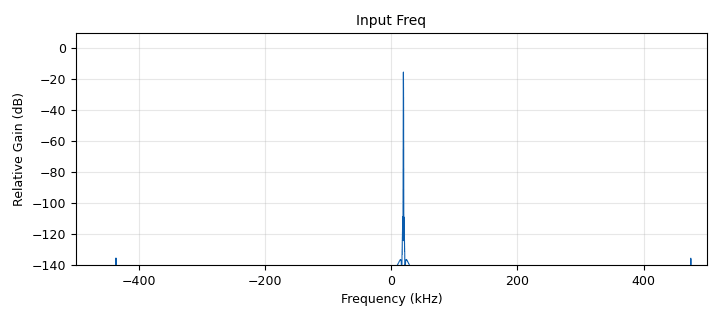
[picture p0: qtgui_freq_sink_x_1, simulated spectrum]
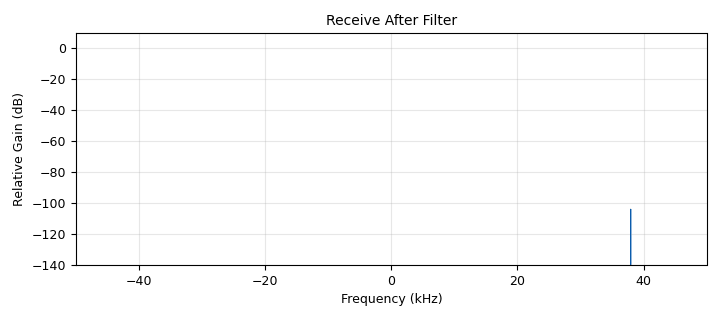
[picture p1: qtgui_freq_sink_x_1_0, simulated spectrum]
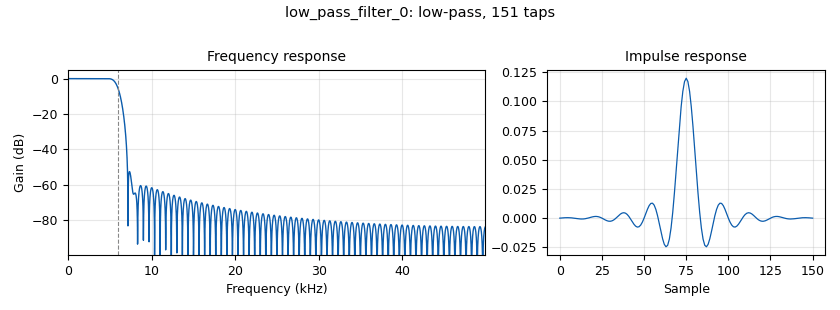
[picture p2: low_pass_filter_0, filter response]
options:
  parameters:
    author: SEAKn Space
    description: Copletes Receive chain from rtl-sdr and demodulates correct signal according to signal from AI model.
    generate_options: qt_gui
    id: receive_chain
    output_language: python
    title: Receive Chain
  states: {}

blocks:
- name: MTU
  id: variable
  parameters:
    value: '1500'
  states: {}
- name: access_key
  id: variable
  parameters:
    value: '''11100001010110101110100010010011'''
  states: {}
- name: baseband_LO
  id: variable_qtgui_range
  parameters:
    gui_hint: 3,0,1,4
    start: '-50_000'
    step: '100'
    stop: '50_000'
    value: '19_000'
  states: {}
- name: bpsk
  id: variable_constellation
  parameters:
    precision: '8'
    type: bpsk
  states: {}
- name: carrier_freq
  id: variable
  parameters:
    value: 0435e6
  states: {}
- name: demod_selector
  id: variable_qtgui_range
  parameters:
    gui_hint: 0,2,1,1
    label: BPSK=0, QPSK=1
    min_len: '300'
    orient: QtCore.Qt.Vertical
    rangeType: int
    start: '0'
    step: '1'
    stop: '1'
    value: '0'
    widget: dial
  states: {state: disabled}
- name: demod_selector
  id: variable
  parameters:
    value: '0'
  states: {}
- name: excess_bw
  id: variable
  parameters:
    value: '0.35'
  states: {}
- name: hackrf_rate
  id: variable
  parameters:
    value: 20*samp_rate
  states: {}
- name: hdr_format
  id: variable
  parameters:
    comment: header_format_default
    value: digital.header_format_default(access_key, 0)
  states: {}
- name: nfilts
  id: variable
  parameters:
    value: '64'
  states: {}
- name: packet_len
  id: variable
  parameters:
    value: '52'
  states: {}
- name: phase_bw
  id: variable
  parameters:
    value: '0.0628'
  states: {}
- name: qpsk
  id: variable_constellation
  parameters:
    precision: '8'
    type: qpsk
  states: {}
- name: qtgui_dialgauge_0
  id: qtgui_dialgauge
  parameters:
    barColor: teal
    gui_hint: 0,2,1,1
    label: 'Demodulation Scheme Selected:'
    maximum: '1'
    minimum: '0'
    msize: '150'
    showValue: 'True'
    type: int
    value: demod_selector
  states: {}
- name: rrc_taps
  id: variable
  parameters:
    value: firdes.root_raised_cosine(nfilts, nfilts, 1.0/float(sps), 0.35, 45*nfilts)
  states: {}
- name: rtl_rate
  id: variable
  parameters:
    value: 1e6
  states: {}
- name: samp_rate
  id: variable
  parameters:
    value: 100e3
  states: {}
- name: sps
  id: variable
  parameters:
    value: '15'
  states: {}
- name: thresh
  id: variable
  parameters:
    value: '1'
  states: {}
- name: transmit_freq
  id: variable
  parameters:
    value: 435e6
  states: {}
- name: variable_qtgui_label_0
  id: variable_qtgui_label
  parameters:
    gui_hint: 0,2,1,1
    type: bool
    value: demod_selector
  states: {state: disabled}
- name: variable_qtgui_label_1
  id: variable_qtgui_label
  parameters:
    gui_hint: 0,3,1,1
    label: BPSK=0, QPSK=1
    type: string
    value: '""'
  states: {}
- name: analog_sig_source_x_0_0
  id: analog_sig_source_x
  parameters:
    amp: '0.5'
    freq: baseband_LO
    offset: '0'
    phase: '0'
    samp_rate: rtl_rate/10
    type: complex
    waveform: analog.GR_COS_WAVE
  states: {}
- name: analog_sig_source_x_0_0_0
  id: analog_sig_source_x
  parameters:
    amp: '0.5'
    freq: baseband_LO
    offset: '0'
    phase: '0'
    samp_rate: rtl_rate
    type: complex
    waveform: analog.GR_COS_WAVE
  states: {}
- name: blocks_file_sink_0
  id: blocks_file_sink
  parameters:
    file: C:\Users\natha\dsp\SDR_files\test_io\out_File
    type: byte
    unbuffered: 'True'
  states: {}
- name: blocks_file_sink_0_0
  id: blocks_file_sink
  parameters:
    file: '"../../test_io/out.tmp"'
    type: byte
    unbuffered: 'True'
  states: {state: disabled}
- name: blocks_multiply_xx_0_0
  id: blocks_multiply_xx
  parameters:
    type: complex
  states: {}
- name: blocks_repack_bits
  id: blocks_repack_bits_bb
  parameters:
    comment: MSB
    endianness: gr.GR_MSB_FIRST
    k: '8'
    l: '1'
    len_tag_key: '"packet_len"'
  states: {}
- name: blocks_selector_1
  id: blocks_selector
  parameters:
    enabled: 'True'
    input_index: demod_selector
    num_inputs: '2'
    num_outputs: '1'
    output_index: '0'
    type: byte
  states: {}
- name: blocks_selector_1_0
  id: blocks_selector
  parameters:
    enabled: 'True'
    input_index: demod_selector
    num_inputs: '2'
    num_outputs: '1'
    output_index: '0'
    type: complex
  states: {}
- name: blocks_selector_3
  id: blocks_selector
  parameters:
    enabled: 'True'
    input_index: '0'
    num_inputs: '1'
    num_outputs: '2'
    output_index: demod_selector
    type: complex
  states: {}
- name: blocks_uchar_to_float
  id: blocks_uchar_to_float
  parameters: {}
  states: {}
- name: bpsk_demod_1
  id: bpsk_demod
  parameters:
    access_key: '''11100001010110101110100010010011'''
    bpsk: bpsk
    nfilts: nfilts
    packet_len: packet_len
    samp_rate: samp_rate
    sps: sps
    thresh: thresh
  states: {}
- name: digital_fll_band_edge_cc_0
  id: digital_fll_band_edge_cc
  parameters:
    filter_size: '44'
    rolloff: '.35'
    samps_per_sym: '15'
    type: cc
    w: '0.0628'
  states: {}
- name: epy_block_0
  id: epy_block
  parameters:
    _source_code: |-
      """
      Embedded Python Blocks:

      Each time this file is saved, GRC will instantiate the first class it finds
      to get ports and parameters of your block. The arguments to __init__  will
      be the parameters. All of them are required to have default values!
      """

      import numpy as np
      import random
      from gnuradio import gr
      import torch

      class blk(gr.sync_block):  # other base classes are basic_block, decim_block, interp_block
          """Embedded Python Block - Randomly grab num_points samples and save to file or pass onto next block.
          Args:
              save_file (str): File to save samples to. Set to None to not save to file.
              num_points (int): Number of samples to grab. Ex: 128. Must be less than or equal to the number of samples in the input (4096).
              grab_random (bool): If True, grab samples randomly. If False, grab samples sequentially at given rate.
              rate (int): Rate at which to grab samples. Higher rate means longer time between grabbing samples.
              debug (bool): If True, print debug messages."""

          def __init__(self, save_file="calla.np", num_points=128, grab_random=False, rate=10_000,debug=False):  # only default arguments here
              """arguments to this function show up as parameters in GRC"""
              gr.sync_block.__init__(
                  self,
                  name='Get Random Sample',   # will show up in GRC
                  in_sig=[np.complex64],
                  out_sig=[np.complex64]
              )
              # if an attribute with the same name as a parameter is found,
              # a callback is registered (properties work, too).
              self.save_file = save_file 
              self.num_points = num_points
              self.grab_random = grab_random
              self.rate = rate
              self._debug = debug

              self.iter_counts = 0

          def work(self, input_items, output_items):
              """Grab num_points samples and save to file or pass onto next block."""

              if (input_items is None or len(input_items[0]) is None or input_items[0] is None):
                  print("Input type is None")
                  return 0

              if self.grab_random:
                  mystery_num = random.randint(1,self.rate)
                  if(mystery_num == 1):
                      self.iter_counts = 0
                      if (len(input_items[0]) >= self.num_points):
                          start = random.randint(0, len(input_items[0])-self.num_points)
                          data = input_items[0][start:start+self.num_points]
                          output_items[0][:len(data)] = input_items[0][start:start+self.num_points]

                          if self._debug:
                              print("Collected {} samples".format(len(data), type(input_items[0]), output_items[0][:] ))
                          
                          # save to file
                          if not self.save_file is None:
                              np.save(self.save_file, data, allow_pickle=True)
                          return len(data)
                      elif self._debug:
                          print("Input length is less than num_points")
                  
              else:
                  self.iter_counts += 1
                  if (self.iter_counts >= self.rate):

                      self.iter_counts = 0
                      if self._debug:
                          print("Input length: ",len(input_items[0]))

                      if (int(len(input_items[0])) >= int(self.num_points)):
                          start = random.randint(0, len(input_items[0])-self.num_points)
                          data = input_items[0][start:start+self.num_points]
                          output_items[0][:len(data)] = input_items[0][start:start+self.num_points]
                          if self._debug:
                              print("Collected {} samples".format(len(data), type(input_items[0]), output_items[0][:] ))
                          
                          formated_data = np.vstack((data.real, data.imag))
                          formated_data_torch = torch.from_numpy(formated_data)
                          formated_data_tensor = torch.tensor(formated_data_torch, dtype=torch.float32)
                          min_val = torch.tensor(formated_data_tensor.min(axis=1).values, dtype=torch.float32)
                          max_val = torch.tensor(formated_data_tensor.max(axis=1).values, dtype=torch.float32)

                          #normalize
                          epsilon = 1e-10
                          normalized_data = 2* (formated_data_tensor - min_val.unsqueeze(1)) / (max_val.unsqueeze(1) - min_val.unsqueeze(1) + epsilon) - 1
                          normalized_data_np = normalized_data.numpy()
                          
                          # if self._debug:
                          #     print(normalized_data_np.shape)
                          #     print(normalized_data.shape)
                          #     print(normalized_data_np[0:10])

                          normalized_real = normalized_data_np[0]
                          normalized_imag = normalized_data_np[1]

                          n_data = np.zeros(self.num_points, dtype=np.complex64)
                          for i in range(self.num_points):
                              n_data[i] = complex(normalized_real[i], normalized_imag[i])
                          
                          if self._debug:
                              print(n_data)

                          output_items[0][:len(n_data)] = n_data[:]

                          # save to file
                          if not self.save_file is None:
                              np.save(self.save_file, data, allow_pickle=True)
                          return len(data)
                      elif self._debug:
                          print("Input length is less than num_points")

              output_items[0][:] = 0
              return self.num_points
              # output_items[0][:self.num_points] = input_items[0][:self.num_points]
              # return (len(output_items[0]))
    debug: 'True'
    grab_random: 'False'
    num_points: '768'
    rate: '10_000'
    save_file: None
  states: {}
- name: epy_block_0_0
  id: epy_block
  parameters:
    _source_code: "import numpy as np\nfrom gnuradio import gr\nimport pmt\nimport base64\n\nclass blk(gr.sync_block):\n    def __init__(self):\n        gr.sync_block.__init__(\n            self,\n            name='EPB: Decode Packet',   # will show up in GRC\n            in_sig=None,\n            out_sig=None)\n        self.message_port_register_in(pmt.intern('msg_in'))\n        self.message_port_register_out(pmt.intern('msg_out'))\n        self.set_msg_handler(pmt.intern('msg_in'), self.handle_msg)\n\n    def handle_msg(self, msg):\n        _debug = 0          # set to zero to turn off diagnostics\n        try:\n            buff = pmt.to_python(pmt.cdr(msg))\n        except Exception as e:\n            gr.log.error(\"Error with message conversion: %s\" % str(e))\n            return\n        b_len = len (buff)\n\n        if (buff[0] == 37):     # preamble or postamble\n            if ((buff[4] == 35) and (b_len < 52)):     # filename starts in buff[8]\n                print (\"End of text\")\n                if (_debug == 2):\n                    print (\"buff =\", buff, b_len)\n                intlist = np.frombuffer(buff, dtype=np.uint8)\n                ofn = ''.join(chr(i) for i in intlist[8:])  \n                print (\"Transmitted file name:\",ofn)\n\n        else:\n            # decode Base64\n            data = base64.b64decode(buff)\n            if (_debug == 1):\n                print (\"data =\", data)\n            pdu = pmt.cons(pmt.PMT_NIL, pmt.init_u8vector(len(data),list(data)))\n            self.message_port_pub(pmt.intern('msg_out'), pdu)\n\n"
    comment: |-
      Strip preamble and postamble
      Convert Base64 to original file content
  states: {state: disabled}
- name: epy_block_1
  id: epy_block
  parameters:
    _source_code: |-
      """
      Embedded Python Blocks:

      Each time this file is saved, GRC will instantiate the first class it finds
      to get ports and parameters of your block. The arguments to __init__  will
      be the parameters. All of them are required to have default values!
      """

      import numpy as np
      from gnuradio import gr
      import pmt
      import time

      class blk(gr.sync_block):  # other base classes are basic_block, decim_block, interp_block
          """'Demodulation Scheme Select From Board'"""

          def __init__(self, demod_selector=True):  # only default arguments here
              """'Demodulation Scheme Select From Board'"""
              gr.sync_block.__init__(
                  self,
                  name='Demodulation Scheme Select From Board',   # will show up in GRC
                  in_sig=None,
                  out_sig=None
              )
              # if an attribute with the same name as a parameter is found,
              # a callback is registered (properties work, too).
              self.portName = "demod_select"
              self.message_port_register_out(pmt.intern(self.portName))

              self.demod_selector = demod_selector

          def work(self, input_items, output_items):
              
              print("Random number: ", rand)
              rand = np.random.randint(2)
              time.sleep(0.1)
              self.demod_selector = rand
              PMT_msg = pmt.from_bool(self.rand)
              self.message_port_pub(pmt.intern(self.portName), PMT_msg)

              return (input_items[0])

          # def handle_msg(self, msg):
          #     self.selector = pmt.to_bool(msg)
    demod_selector: demod_selector
  states: {state: disabled}
- name: low_pass_filter_0
  id: low_pass_filter
  parameters:
    cutoff_freq: 6e3
    decim: '1'
    gain: '1'
    samp_rate: samp_rate
    type: fir_filter_ccf
    width: 1.6E3
    win: window.WIN_HAMMING
  states: {}
- name: pdu_pdu_to_tagged_stream_0
  id: pdu_pdu_to_tagged_stream
  parameters:
    tag: packet_len
    type: byte
  states: {state: disabled}
- name: pdu_tagged_stream_to_pdu_0_0
  id: pdu_tagged_stream_to_pdu
  parameters:
    tag: packet_len
    type: byte
  states: {state: disabled}
- name: qpsk_demod_0
  id: qpsk_demod
  parameters:
    packet_len: packet_len
    phase_bw: phase_bw
    qpsk: qpsk
    sps: sps
    thresh: thresh
  states: {}
- name: qtgui_const_sink_x_0_0
  id: qtgui_const_sink_x
  parameters:
    comment: 0,2,1,2
    gui_hint: 5,0,1,4
    name: '"Constellation Plot"'
    size: '1024'
    type: complex
  states: {}
- name: qtgui_freq_sink_x_1
  id: qtgui_freq_sink_x
  parameters:
    average: '0.05'
    bw: rtl_rate
    fc: '0'
    fftsize: '8192'
    gui_hint: 0,0,1,2
    name: '"Input Freq"'
    type: complex
  states: {}
- name: qtgui_freq_sink_x_1_0
  id: qtgui_freq_sink_x
  parameters:
    bw: samp_rate
    fc: '0'
    fftsize: '16384'
    gui_hint: 4,0,1,4
    name: '"Receive After Filter"'
    type: complex
  states: {}
- name: qtgui_ledindicator_0
  id: qtgui_ledindicator
  parameters:
    gui_hint: 0,2,1,1
    label: 'Demodulation Scheme Selected: (Red=BPSK, Green=QPSK)'
    maxSize: '100'
    state: demod_selector
  states: {state: disabled}
- name: qtgui_time_sink_x_0
  id: qtgui_time_sink_x
  parameters:
    size: '128'
    srate: samp_rate
    type: complex
  states: {}
- name: qtgui_time_sink_x_0_0
  id: qtgui_time_sink_x
  parameters:
    comment: 1,2,1,2
    gui_hint: 6,0,1,4
    label1: ''
    name: Correlate Output
    size: '256'
    srate: samp_rate
    tr_delay: '0.0'
    tr_level: '0.1'
    tr_mode: qtgui.TRIG_MODE_TAG
    tr_tag: '"packet_len"'
    type: float
    ymax: '1.1'
    ymin: '-0.1'
  states: {}
- name: rational_resampler_xxx_0
  id: rational_resampler_xxx
  parameters:
    decim: (int)(rtl_rate/samp_rate)
    interp: '1'
    type: ccc
  states: {}
- name: rtlsdr_source_0
  id: rtlsdr_source
  parameters:
    args: ''
    bb_gain0: '20'
    clock_source0: internal
    dc_offset_mode0: '2'
    freq0: carrier_freq
    gain0: '20'
    gain_mode0: 'True'
    if_gain0: '20'
    iq_balance_mode0: '2'
    sample_rate: rtl_rate
    sync: sync
    time_source0: external
    type: fc32
  states: {state: disabled}
- name: virtual_sink_0
  id: virtual_sink
  parameters:
    stream_id: centered_signal
  states: {}
- name: virtual_source_0
  id: virtual_source
  parameters:
    stream_id: centered_signal
  states: {}
- name: xmlrpc_server_0
  id: xmlrpc_server
  parameters:
    addr: localhost
    port: '8080'
  states: {}
- name: zeromq_pub_sink_0
  id: zeromq_pub_sink
  parameters:
    address: tcp://127.0.0.1:5050
    timeout: '100'
    type: complex
  states: {}
- name: zeromq_sub_source_0
  id: zeromq_sub_source
  parameters:
    address: tcp://127.0.0.1:49203
    comment: USRP sample rate = 768kHz
    timeout: '100'
    type: complex
  states: {state: disabled}

connections:
- [analog_sig_source_x_0_0, '0', blocks_multiply_xx_0_0, '1']
- [analog_sig_source_x_0_0_0, '0', qtgui_freq_sink_x_1, '0']
- [analog_sig_source_x_0_0_0, '0', rational_resampler_xxx_0, '0']
- [blocks_multiply_xx_0_0, '0', digital_fll_band_edge_cc_0, '0']
- [blocks_repack_bits, '0', blocks_uchar_to_float, '0']
- [blocks_selector_1, '0', blocks_file_sink_0, '0']
- [blocks_selector_1, '0', blocks_repack_bits, '0']
- [blocks_selector_1, '0', pdu_tagged_stream_to_pdu_0_0, '0']
- [blocks_selector_1_0, '0', qtgui_const_sink_x_0_0, '0']
- [blocks_selector_3, '0', bpsk_demod_1, '0']
- [blocks_selector_3, '1', qpsk_demod_0, '0']
- [blocks_uchar_to_float, '0', qtgui_time_sink_x_0_0, '0']
- [bpsk_demod_1, '0', blocks_selector_1, '0']
- [bpsk_demod_1, '1', blocks_selector_1_0, '0']
- [digital_fll_band_edge_cc_0, '0', low_pass_filter_0, '0']
- [epy_block_0, '0', qtgui_time_sink_x_0, '0']
- [epy_block_0, '0', zeromq_pub_sink_0, '0']
- [epy_block_0_0, msg_out, pdu_pdu_to_tagged_stream_0, pdus]
- [low_pass_filter_0, '0', epy_block_0, '0']
- [low_pass_filter_0, '0', qtgui_freq_sink_x_1_0, '0']
- [low_pass_filter_0, '0', virtual_sink_0, '0']
- [pdu_pdu_to_tagged_stream_0, '0', blocks_file_sink_0_0, '0']
- [pdu_tagged_stream_to_pdu_0_0, pdus, epy_block_0_0, msg_in]
- [qpsk_demod_0, '0', blocks_selector_1, '1']
- [qpsk_demod_0, '1', blocks_selector_1_0, '1']
- [rational_resampler_xxx_0, '0', blocks_multiply_xx_0_0, '0']
- [rtlsdr_source_0, '0', qtgui_freq_sink_x_1, '0']
- [rtlsdr_source_0, '0', rational_resampler_xxx_0, '0']
- [virtual_source_0, '0', blocks_selector_3, '0']
- [zeromq_sub_source_0, '0', qtgui_freq_sink_x_1, '0']
- [zeromq_sub_source_0, '0', rational_resampler_xxx_0, '0']

metadata:
  file_format: 1
  grc_version: 3.10.8.0
